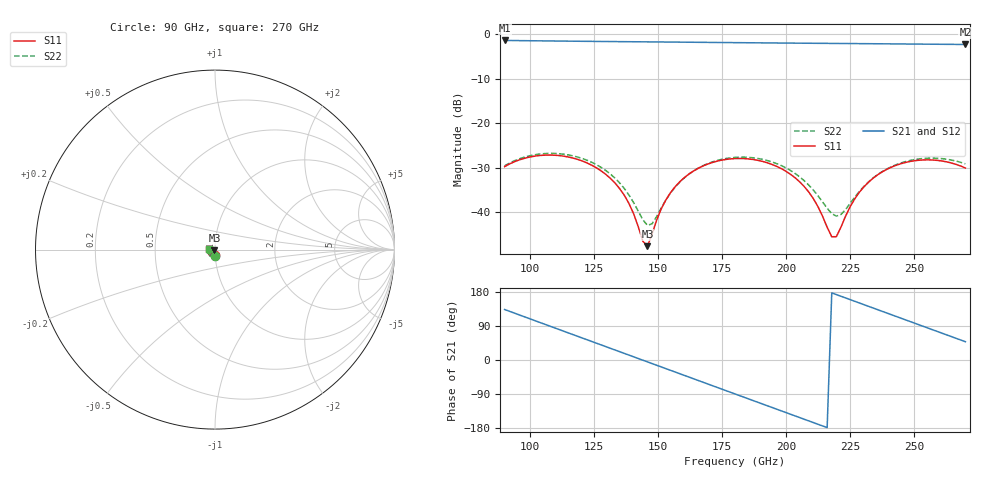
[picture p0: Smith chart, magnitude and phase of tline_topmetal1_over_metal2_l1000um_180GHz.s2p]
#  GHZ S DB R 50
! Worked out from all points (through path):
!   101 points, 90 GHz to 270 GHz, reference 50 ohm
!   highest |S21| = -1.44 dB at 90 GHz (marker M1); lowest = -2.3 dB at 270 GHz (marker M2)
!   group delay of S21, straight-line fit = 6.87 ps
!   lowest |S11| = -47.6 dB at 145.8 GHz (marker M3), VSWR 1.01, Z = 49.7 - j0.281 ohm
!   |S11| at or under -10 dB: start of sweep to end of sweep
!   |S22| runs from -42.9 to -26.8 dB; largest |S21 - S12| = 9e-14
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90  -29.74 -93.3  -1.44 133.3  -1.44 133.3  -29.56 -93.1
106.2  -27.15 -133.3  -1.54 93.1  -1.54 93.1  -26.79 -131.6
120.6  -28.53 -168.6  -1.63 57.4  -1.63 57.4  -27.96 -165.3
135  -34.72 161.6  -1.70 21.8  -1.70 21.8  -33.44 168.6
140.4  -40.31 160.3  -1.73 8.4  -1.73 8.4  -37.81 169.3
144  -46.47 -174.1  -1.75 -0.5  -1.75 -0.5  -41.66 -173.8
145.8  -47.58 -137.4  -1.76 -4.9  -1.76 -4.9  -42.91 -155.1
147.6  -44.87 -108.9  -1.76 -9.4  -1.76 -9.4  -42.56 -133.7
151.2  -39.19 -93.8  -1.78 -18.3  -1.78 -18.3  -38.99 -109.4
156.6  -34.26 -97.5  -1.81 -31.7  -1.81 -31.7  -34.34 -104.9
162  -31.40 -107.3  -1.83 -45.0  -1.83 -45.0  -31.42 -111.3
171  -28.83 -126.8  -1.88 -67.3  -1.88 -67.3  -28.71 -128.1
180  -27.93 -147.4  -1.93 -89.6  -1.93 -89.6  -27.67 -146.8
189  -28.33 -167.8  -1.97 -111.8  -1.97 -111.8  -27.91 -165.6
198  -30.16 172.7  -2.02 -134.0  -2.02 -134.0  -29.48 177.0
210.6  -36.91 154.2  -2.07 -165.1  -2.07 -165.1  -35.00 163.3
217.8  -45.47 -170.2  -2.10 177.1  -2.10 177.1  -40.28 -174.3
219.6  -45.45 -141.7  -2.11 172.7  -2.11 172.7  -40.84 -159.9
228.6  -35.47 -107.4  -2.15 150.4  -2.15 150.4  -35.29 -120.2
241.2  -29.84 -128.5  -2.21 119.3  -2.21 119.3  -29.73 -132.5
255.6  -28.22 -159.6  -2.28 83.7  -2.28 83.7  -27.84 -159.3
270  -30.05 169.0  -2.34 48.2  -2.34 48.2  -29.11 174.1
